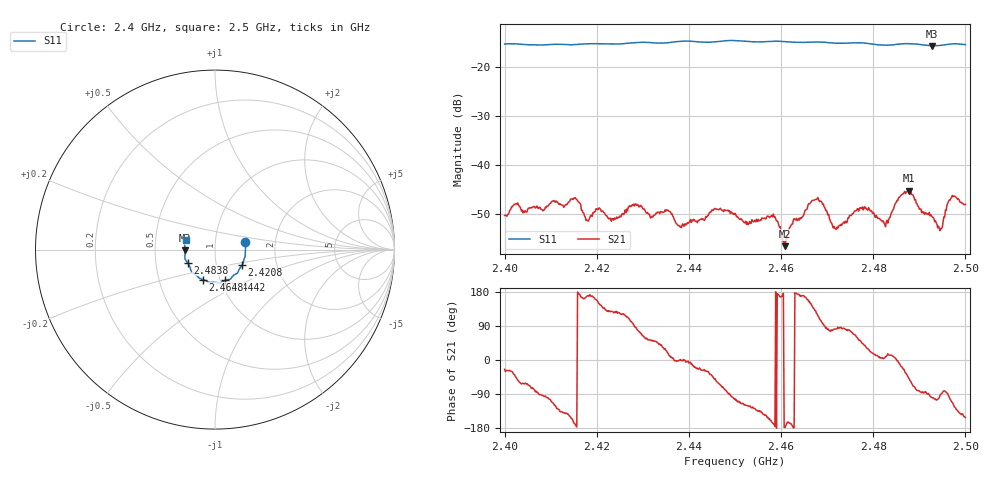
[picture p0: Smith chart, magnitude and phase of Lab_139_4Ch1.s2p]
# Hz S RI R 50
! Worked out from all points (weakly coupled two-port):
!   601 points, 2.4 GHz to 2.5 GHz, reference 50 ohm
!   highest |S21| = -45.25 dB at 2.4877 GHz (marker M1); lowest = -56.6 dB at 2.4608 GHz (marker M2)
!   lowest |S11| = -15.6 dB at 2.4928 GHz (marker M3), VSWR 1.40, Z = 35.8 - j0.366 ohm
!   |S11| at or under -10 dB: start of sweep to end of sweep
!   S12 and S22 are empty: the file has one direction only
!   S11 on the Smith chart (normalised r, x): 2.4 GHz: 1.40, +0.12; 2.4208 GHz: 1.33, -0.24; 2.4442 GHz: 1.05, -0.37; 2.4648 GHz: 0.83, -0.29; 2.4838 GHz: 0.73, -0.11; 2.5 GHz: 0.72, +0.08
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2.4e9  0.168 0.0409  0.00276 -0.00127  0 0  0 0
2.4025e9  0.1716 0.0279  0.00279 -0.00289  0 0  0 0
2.416667e9  0.1588 -0.0681  -0.00333 0.000902  0 0  0 0
2.418e9  0.1563 -0.0762  -0.00264 0.000498  0 0  0 0
2.420833e9  0.1506 -0.0872  -0.00287 0.002  0 0  0 0
2.433333e9  0.108 -0.1401  0.00235 0.00229  0 0  0 0
2.438e9  0.088 -0.1623  0.00233 7.67e-06  0 0  0 0
2.444167e9  0.0566 -0.1711  0.00262 -0.00151  0 0  0 0
2.45e9  0.0246 -0.1865  -0.000666 -0.00313  0 0  0 0
2.458333e9  -0.0275 -0.1829  -0.00308 -0.000629  0 0  0 0
2.460833e9  -0.0398 -0.1786  -0.00147 -4.17e-05  0 0  0 0
2.464833e9  -0.0684 -0.1666  -0.00296 0.000522  0 0  0 0
2.466667e9  -0.0802 -0.1627  -0.00346 0.00253  0 0  0 0
2.471833e9  -0.1009 -0.1447  0.000326 0.0022  0 0  0 0
2.477667e9  -0.1342 -0.1169  0.00271 0.00254  0 0  0 0
2.483333e9  -0.1505 -0.076  0.00267 0.00064  0 0  0 0
2.483833e9  -0.1531 -0.0719  0.00304 0.000685  0 0  0 0
2.487667e9  -0.1676 -0.0495  0.0037 -0.00401  0 0  0 0
2.492833e9  -0.1658 -0.00497  -0.000498 -0.00289  0 0  0 0
2.4945e9  -0.1669 0.0132  -0.000103 -0.00212  0 0  0 0
2.497e9  -0.1705 0.0326  -0.0016 -0.00437  0 0  0 0
2.5e9  -0.1624 0.0529  -0.00346 -0.00187  0 0  0 0
